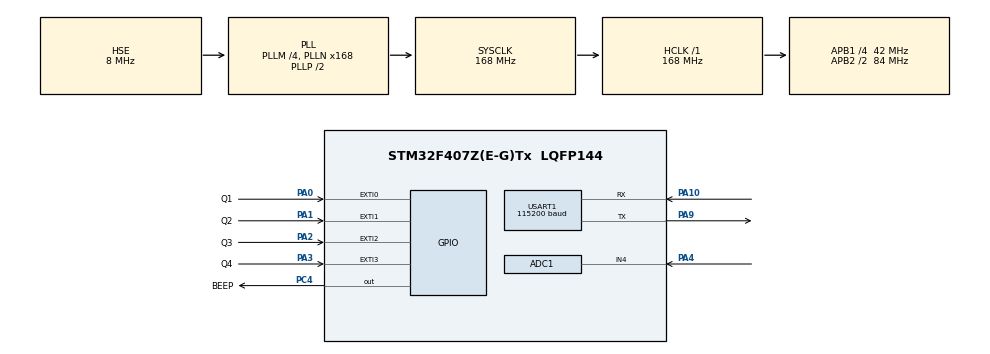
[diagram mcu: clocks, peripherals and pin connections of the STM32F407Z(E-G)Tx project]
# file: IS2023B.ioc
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ADC1.Channel-0\#ChannelRegularConversion=ADC_CHANNEL_4
ADC1.DMAContinuousRequests=ENABLE
ADC1.ExternalTrigConv=ADC_EXTERNALTRIGCONV_T2_CC2
ADC1.NbrOfConversionFlag=1
ADC1.Rank-0\#ChannelRegularConversion=1
ADC1.SamplingTime-0\#ChannelRegularConversion=ADC_SAMPLETIME_3CYCLES
ADC1.master=1
Dma.ADC1.0.Direction=DMA_PERIPH_TO_MEMORY
Dma.ADC1.0.FIFOMode=DMA_FIFOMODE_DISABLE
Dma.ADC1.0.Instance=DMA2_Stream0
Dma.ADC1.0.MemDataAlignment=DMA_MDATAALIGN_HALFWORD
Dma.ADC1.0.MemInc=DMA_MINC_ENABLE
Dma.ADC1.0.Mode=DMA_CIRCULAR
Dma.ADC1.0.PeriphDataAlignment=DMA_PDATAALIGN_HALFWORD
Dma.ADC1.0.PeriphInc=DMA_PINC_DISABLE
Dma.ADC1.0.Priority=DMA_PRIORITY_LOW
Dma.Request0=ADC1
Mcu.Family=STM32F4
Mcu.Name=STM32F407Z(E-G)Tx
Mcu.Package=LQFP144
NVIC.DMA2_Stream0_IRQn=true\:0\:0\:true\:false\:true\:false\:true\:true
NVIC.EXTI0_IRQn=true\:0\:0\:false\:false\:true\:true\:true\:true
NVIC.EXTI1_IRQn=true\:0\:0\:false\:false\:true\:true\:true\:true
NVIC.EXTI2_IRQn=true\:0\:0\:false\:false\:true\:true\:true\:true
NVIC.EXTI3_IRQn=true\:0\:0\:false\:false\:true\:true\:true\:true
NVIC.PriorityGroup=NVIC_PRIORITYGROUP_4
NVIC.TIM5_IRQn=true\:0\:0\:false\:false\:true\:true\:true\:true
NVIC.USART1_IRQn=true\:0\:0\:false\:false\:true\:true\:true\:true
PA0-WKUP.GPIO_Label=Q1
PA0-WKUP.Signal=GPXTI0
PA1.GPIO_Label=Q2
PA1.Signal=GPXTI1
PA10.Mode=Asynchronous
PA10.Signal=USART1_RX
PA13.Mode=Serial_Wire
PA13.Signal=SYS_JTMS-SWDIO
PA14.Mode=Serial_Wire
PA14.Signal=SYS_JTCK-SWCLK
PA2.GPIO_Label=Q3
PA2.Signal=GPXTI2
PA3.GPIO_Label=Q4
PA3.Signal=GPXTI3
PA4.Signal=ADCx_IN4
PA9.Mode=Asynchronous
PA9.Signal=USART1_TX
PC4.GPIO_Label=BEEP
PC4.Signal=GPIO_Output
PH0-OSC_IN.Mode=HSE-External-Oscillator
PH0-OSC_IN.Signal=RCC_OSC_IN
PH1-OSC_OUT.Mode=HSE-External-Oscillator
PH1-OSC_OUT.Signal=RCC_OSC_OUT
ProjectManager.HeapSize=0x200
ProjectManager.StackSize=0x1000
ProjectManager.TargetToolchain=MDK-ARM V5.32
RCC.48MHZClocksFreq_Value=84000000
RCC.AHBFreq_Value=168000000
RCC.APB1CLKDivider=RCC_HCLK_DIV4
RCC.APB1Freq_Value=42000000
RCC.APB1TimFreq_Value=84000000
RCC.APB2CLKDivider=RCC_HCLK_DIV2
RCC.APB2Freq_Value=84000000
RCC.APB2TimFreq_Value=168000000
RCC.CortexFreq_Value=168000000
RCC.HCLKFreq_Value=168000000
RCC.HSE_VALUE=8000000
RCC.HSI_VALUE=16000000
RCC.LSE_VALUE=32768
RCC.PLLM=4
RCC.PLLN=168
RCC.PLLSourceVirtual=RCC_PLLSOURCE_HSE
RCC.SYSCLKFreq_VALUE=168000000
RCC.SYSCLKSource=RCC_SYSCLKSOURCE_PLLCLK
RCC.VCOOutputFreq_Value=336000000
SH.ADCx_IN4.0=ADC1_IN4,IN4
TIM2.Channel-PWM\ Generation2\ No\ Output=TIM_CHANNEL_2
TIM2.Period=976471
TIM5.AutoReloadPreload=TIM_AUTORELOAD_PRELOAD_ENABLE
TIM5.Period=42000000
TIM5.Prescaler=0
USART1.BaudRate=115200
USART1.VirtualMode=VM_ASYNC
VP_TIM2_VS_ClockSourceINT.Mode=Internal
VP_TIM2_VS_no_output2.Mode=PWM Generation2 No Output
VP_TIM5_VS_ClockSourceINT.Mode=Internal
board=custom

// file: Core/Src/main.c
/* USER CODE BEGIN Header */
/**
  ******************************************************************************
  * @file           : main.c
  * @brief          : Main program body
  ******************************************************************************
  * @attention
  *
  * Copyright (c) 2023 STMicroelectronics.
  * All rights reserved.
  *
  * This software is licensed under terms that can be found in the LICENSE file
  * in the root directory of this software component.
  * If no LICENSE file comes with this software, it is provided AS-IS.
  *
  ******************************************************************************
  */
/* USER CODE END Header */
#include "main.h"
#include "adc.h"
#include "dma.h"
#include "tim.h"
#include "usart.h"
#include "gpio.h"

/* USER CODE BEGIN Includes */
#include "USART_HMI.h"
/* USER CODE END Includes */

/* USER CODE BEGIN PV */
bool volatile conv_done = false;
uint16_t adc_values[ADC_DATA_LENGTH + 4];
float actual_voltage = 0.0f;
bool paused = false;
float metal_detect_thresh = 1.2f, with_ref_vol = 0.0f, without_ref_vol = 0.0f;
bool with_calibration_done = true;
bool without_calibration_done = true;
bool volatile overtime = false;

static uint16_t total_steps = 50;
static uint16_t steps = 15;
static uint16_t P_skip_num = 0;
static float MICROPHONE[4][2] = { {HALF_SQUARE, HALF_SQUARE},
                                  {-HALF_SQUARE, HALF_SQUARE},
                                  {-HALF_SQUARE, -HALF_SQUARE},
                                  {HALF_SQUARE, -HALF_SQUARE}};
static float POINT_DIST[4] = {0.0f, 0.0f, 0.0f, 0.0f};
static float CORRECT_POINT_DIST[4] = {0.0f, 0.0f, 0.0f, 0.0f};
static float G_VECTOR[4][2] = {{0.0f, 0.0f}, {0.0f, 0.0f}, {0.0f, 0.0f}, {0.0f, 0.0f}};
uint32_t quadrant_time_stamp[4] = {0, 0, 0, 0};
static float pix, piy;
/* USER CODE END PV */

void SystemClock_Config(void);
/* USER CODE BEGIN PFP */
static void Gradient_descent_wrapper(void);
static void Quadrant_Lattice_Indexing(void);
/* USER CODE END PFP */

int main(void)
{

  /* MCU Configuration--------------------------------------------------------*/

  /* Reset of all peripherals, Initializes the Flash interface and the Systick. */
  HAL_Init();

  /* Configure the system clock */
  SystemClock_Config();

  /* Initialize all configured peripherals */
  MX_GPIO_Init();
  MX_DMA_Init();
  MX_TIM2_Init();
  MX_USART1_UART_Init();
  MX_ADC1_Init();
  MX_TIM5_Init();
  /* USER CODE BEGIN 2 */
  UARTHMI_Forget_It();
  UARTHMI_Reset();
  HAL_Delay(150);
  HAL_TIM_Base_Start(&htim2);
	HAL_ADC_Start_DMA(&hadc1, (uint32_t*)adc_values, ADC_DATA_LENGTH + 4);
  without_ref_vol = ADC_Get_Vpp_Median(10);
  metal_detect_thresh = without_ref_vol * REF_WEIGHT + with_ref_vol * (1 - REF_WEIGHT);
  UARTHMI_Cross_Page_Set_Number(1, (int)(metal_detect_thresh * 1000), "page1");
  /* USER CODE END 2 */

  /* Infinite loop */
  while (1)
  {

    /* USER CODE BEGIN 3 */
    while (1)
    {
      actual_voltage = ADC_Get_Vpp_Median(10);
      if (without_metal)
      {
        without_ref_vol = actual_voltage;
        UARTHMI_Cross_Page_Set_Number(0, (int)(actual_voltage * 1000), "page1");
        printf("page1.n0.pco=2023\xff\xff\xff");
        without_metal = false;
        without_calibration_done = true;
        metal_detect_thresh = (with_ref_vol + without_ref_vol) / 2.0f;
      }
      else if (with_metal)
      {
        with_ref_vol = actual_voltage;
        UARTHMI_Cross_Page_Set_Number(3, (int)(actual_voltage * 1000), "page1");
        printf("page1.n3.pco=2023\xff\xff\xff");
        with_metal = false;
        with_calibration_done = true;
        metal_detect_thresh = (with_ref_vol + without_ref_vol) / 2.0f;
      }
      if ((actual_voltage < metal_detect_thresh) && ((without_calibration_done) && (with_calibration_done)))
      {
        if (actual_voltage < 0.05f)
        {
          /* No supply */
        }
        else
        {
          break;
        }
      }
      else
      {
        NO_BB;
        HAL_Delay(5); // when metal is around, avoid going to IRQ frequently
        paused = true;
      }
    }
    Configuration_Init();
    ALARM;
    while (1)
    {
      if (paused)
      {
        if (overtime)
        {
          __NVIC_DisableIRQ(EXTI0_IRQn);
          __NVIC_DisableIRQ(EXTI1_IRQn);
          __NVIC_DisableIRQ(EXTI2_IRQn);
          __NVIC_DisableIRQ(EXTI3_IRQn);
          __NVIC_DisableIRQ(TIM5_IRQn);
          paused = false;
          overtime = false;
          break;
        }
        else if ((!((__NVIC_GetEnableIRQ(EXTI0_IRQn)) | (__NVIC_GetEnableIRQ(EXTI1_IRQn)) | (__NVIC_GetEnableIRQ(EXTI2_IRQn)) | (__NVIC_GetEnableIRQ(EXTI3_IRQn)))))// (interrupt_times == 4)
        {
          __NVIC_DisableIRQ(TIM5_IRQn);
          paused = false;
          Quadrant_Lattice_Indexing();
          break;
        }
      }
      else
      {
        HAL_TIM_Base_Stop_IT(&htim5);
        break;
      }
    }
  }
  /* USER CODE END 3 */
}

void SystemClock_Config(void)
{
  RCC_OscInitTypeDef RCC_OscInitStruct = {0};
  RCC_ClkInitTypeDef RCC_ClkInitStruct = {0};

  /** Configure the main internal regulator output voltage
  */
  __HAL_RCC_PWR_CLK_ENABLE();
  __HAL_PWR_VOLTAGESCALING_CONFIG(PWR_REGULATOR_VOLTAGE_SCALE1);

  /** Initializes the RCC Oscillators according to the specified parameters
  * in the RCC_OscInitTypeDef structure.
  */
  RCC_OscInitStruct.OscillatorType = RCC_OSCILLATORTYPE_HSE;
  RCC_OscInitStruct.HSEState = RCC_HSE_ON;
  RCC_OscInitStruct.PLL.PLLState = RCC_PLL_ON;
  RCC_OscInitStruct.PLL.PLLSource = RCC_PLLSOURCE_HSE;
  RCC_OscInitStruct.PLL.PLLM = 4;
  RCC_OscInitStruct.PLL.PLLN = 168;
  RCC_OscInitStruct.PLL.PLLP = RCC_PLLP_DIV2;
  RCC_OscInitStruct.PLL.PLLQ = 4;
  if (HAL_RCC_OscConfig(&RCC_OscInitStruct) != HAL_OK)
  {
    Error_Handler();
  }

  /** Initializes the CPU, AHB and APB buses clocks
  */
  RCC_ClkInitStruct.ClockType = RCC_CLOCKTYPE_HCLK|RCC_CLOCKTYPE_SYSCLK
                              |RCC_CLOCKTYPE_PCLK1|RCC_CLOCKTYPE_PCLK2;
  RCC_ClkInitStruct.SYSCLKSource = RCC_SYSCLKSOURCE_PLLCLK;
  RCC_ClkInitStruct.AHBCLKDivider = RCC_SYSCLK_DIV1;
  RCC_ClkInitStruct.APB1CLKDivider = RCC_HCLK_DIV4;
  RCC_ClkInitStruct.APB2CLKDivider = RCC_HCLK_DIV2;

  if (HAL_RCC_ClockConfig(&RCC_ClkInitStruct, FLASH_LATENCY_5) != HAL_OK)
  {
    Error_Handler();
  }
}

/* USER CODE BEGIN 4 */
static inline float dist(float p1x, float p1y, float p2x, float p2y)
{
  return sqrtf((p1x - p2x) * (p1x - p2x) + (p1y - p2y) * (p1y - p2y));
}

static inline float norm(float px, float py)
{
  return sqrtf(px * px + py * py);
}

static void Gradient_descent(uint8_t step)
{
  float sum = 0.0f, temp = 0.0f;
  float gradients_list[4][2] = {{0.0f, 0.0f}, {0.0f, 0.0f}, {0.0f, 0.0f}, {0.0f, 0.0f}};
  for (uint8_t i = 0; i < 4; ++i)
  {
    POINT_DIST[i] = (dist(pix, piy, MICROPHONE[i][0], MICROPHONE[i][1]) - dist(pix, piy, MICROPHONE[P_skip_num][0], MICROPHONE[P_skip_num][1])) - CORRECT_POINT_DIST[i] / CLK_FREQ * V_VOICE;
    sum += fabsf(POINT_DIST[i]);
  }
  for (uint8_t i = 0; i < 4; ++i)
  {
    POINT_DIST[i] /= sum;
    temp = (steps + sum / 20.0f) * (1.0f - logf(1.0f + expf(step / 5.0f - 10.0f)) / 0.65f);
    gradients_list[i][0] = G_VECTOR[i][0] * POINT_DIST[i] * temp;
    gradients_list[i][1] = G_VECTOR[i][1] * POINT_DIST[i] * temp;
    pix += gradients_list[i][0];
    piy += gradients_list[i][1];
  }

}

static void Gradient_descent_wrapper(void)
{
  for (uint8_t i = 0; i < 4; ++i)
  {
    G_VECTOR[i][0] = MICROPHONE[i][0] - MICROPHONE[P_skip_num][0];
    G_VECTOR[i][1] = MICROPHONE[i][1] - MICROPHONE[P_skip_num][1];
    if (i != P_skip_num)
    {
      G_VECTOR[i][0] /= norm(G_VECTOR[i][0], G_VECTOR[i][1]) * sqrtf(3.0f);
      G_VECTOR[i][1] /= norm(G_VECTOR[i][0], G_VECTOR[i][1]) * sqrtf(3.0f);
    }
  }
  for (uint8_t i = 0; i < total_steps; ++i)
  {
    Gradient_descent(i);
  }
}

static void Quadrant_Lattice_Indexing(void)
{
  int8_t x_index, y_index;
  uint32_t min = quadrant_time_stamp[0];
  for (uint8_t i = 1; i < 4; ++i)
  {
    if (quadrant_time_stamp[i] < min)
    {
      P_skip_num = i;
      min = quadrant_time_stamp[i];
    }
  }
  pix = MICROPHONE[P_skip_num][0] * 5.0f / UARTHMI_LATTICE;
  piy = MICROPHONE[P_skip_num][1] * 5.0f / UARTHMI_LATTICE;
  UARTHMI_Send_Number(0, P_skip_num + 1);
  for (uint8_t i = 0; i < 4; ++i)
  {
    CORRECT_POINT_DIST[i] = (float)(quadrant_time_stamp[i] - min) * V_VOICE / CLK_FREQ;
    UARTHMI_Cross_Page_Set_Number(6 + i, (int)(CORRECT_POINT_DIST[i] * 1000), "page1");
  }
  Gradient_descent_wrapper();
  x_index = (int8_t)(fabsf(pix) / UNIT) + 1;
  y_index = (int8_t)(fabsf(piy) / UNIT) + 1;
  if (pix < 0.0f)
  {
    x_index = -x_index;
  }
  if (piy < 0.0f)
  {
    y_index = -y_index;
  }
  UARTHMI_Send_Number(1, x_index);
  UARTHMI_Send_Number(2, y_index);
  printf("page 0\xff\xff\xff");
  printf("fill %d,%d,%d,%d,RED\xff\xff\xff", (uint16_t)((pix + 250.0f) / 500.0f * 240.0f) / (UARTHMI_LATTICE * LATTICE_RATIO) * (UARTHMI_LATTICE * LATTICE_RATIO), (uint16_t)((250.0f - piy) / 500.0f * 240.0f) / (UARTHMI_LATTICE * LATTICE_RATIO) * (UARTHMI_LATTICE * LATTICE_RATIO), LATTICE_RATIO * UARTHMI_LATTICE, LATTICE_RATIO * UARTHMI_LATTICE);
}

void Configuration_Init(void)
{
  HAL_TIM_Base_Stop_IT(&htim5);
  __HAL_TIM_SetCounter(&htim5, 0);
  memset(quadrant_time_stamp, 0x00000000, sizeof(uint32_t) * 4);
  __NVIC_EnableIRQ(EXTI0_IRQn);
  __NVIC_EnableIRQ(EXTI1_IRQn);
  __NVIC_EnableIRQ(EXTI2_IRQn);
  __NVIC_EnableIRQ(EXTI3_IRQn);
  __NVIC_EnableIRQ(TIM5_IRQn);
  htim5.State = HAL_TIM_STATE_BUSY;
  __HAL_TIM_ENABLE_IT(&htim5, TIM_IT_UPDATE);
  __HAL_TIM_ENABLE(&htim5);
}
/* USER CODE END 4 */

void Error_Handler(void)
{
  /* USER CODE BEGIN Error_Handler_Debug */
  /* User can add his own implementation to report the HAL error return state */
  __disable_irq();
  while (1)
  {
    printf("Error_Handler\r\n");
  }
  /* USER CODE END Error_Handler_Debug */
}

#ifdef  USE_FULL_ASSERT
/**
  * @brief  Reports the name of the source file and the source line number
  *         where the assert_param error has occurred.
  * @param  file: pointer to the source file name
  * @param  line: assert_param error line source number
  * @retval None
  */
void assert_failed(uint8_t *file, uint32_t line)
{
  /* USER CODE BEGIN 6 */
  /* User can add his own implementation to report the file name and line number,
     ex: printf("Wrong parameters value: file %s on line %d\r\n", file, line) */
  printf("Wrong parameters value: file %s on line %d\r\n", file, line);
  /* USER CODE END 6 */
}
#endif /* USE_FULL_ASSERT */
